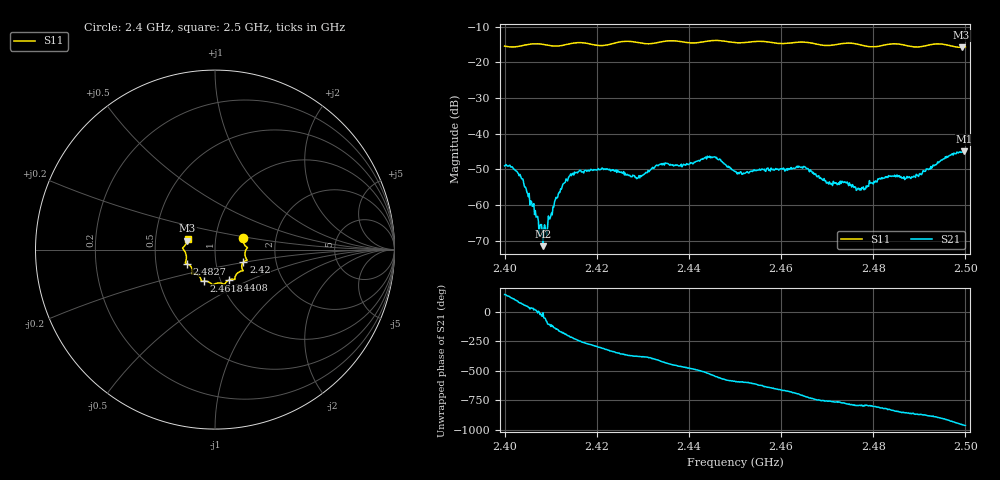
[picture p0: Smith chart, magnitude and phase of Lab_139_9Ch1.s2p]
# Hz S RI R 50
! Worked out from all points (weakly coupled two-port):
!   601 points, 2.4 GHz to 2.5 GHz, reference 50 ohm
!   highest |S21| = -44.93 dB at 2.4997 GHz (marker M1); lowest = -71.5 dB at 2.4083 GHz (marker M2)
!   lowest |S11| = -15.8 dB at 2.4992 GHz (marker M3), VSWR 1.39, Z = 36.5 + j3.7 ohm
!   |S11| at or under -10 dB: start of sweep to end of sweep
!   S12 and S22 are empty: the file has one direction only
!   S11 on the Smith chart (normalised r, x): 2.4 GHz: 1.36, +0.17; 2.42 GHz: 1.36, -0.19; 2.4408 GHz: 1.10, -0.38; 2.4618 GHz: 0.84, -0.30; 2.4827 GHz: 0.72, -0.12; 2.5 GHz: 0.73, +0.09
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2.4e9  0.1561 0.0621  -0.00303 0.00183  0 0  0 0
2.4035e9  0.1675 0.0227  0.000567 0.00245  0 0  0 0
2.407833e9  0.1794 0.00859  0.000516 -0.000139  0 0  0 0
2.408333e9  0.1778 0.00659  0.000265 -2.84e-05  0 0  0 0
2.408833e9  0.1755 0.00374  0.000281 -0.000391  0 0  0 0
2.413e9  0.1697 -0.0409  -0.00206 8.52e-05  0 0  0 0
2.416667e9  0.1782 -0.0592  -0.000883 0.00277  0 0  0 0
2.42e9  0.1579 -0.0694  0.00121 0.00285  0 0  0 0
2.428833e9  0.1462 -0.1194  0.00229 -0.000674  0 0  0 0
2.433333e9  0.1122 -0.1521  0.00239 -0.00263  0 0  0 0
2.440833e9  0.0787 -0.1686  -0.00207 -0.00317  0 0  0 0
2.4455e9  0.0524 -0.1945  -0.00474 0.000132  0 0  0 0
2.45e9  0.0277 -0.186  -0.00198 0.00219  0 0  0 0
2.461833e9  -0.0601 -0.1752  0.00234 0.00224  0 0  0 0
2.466667e9  -0.0771 -0.1684  0.00287 -0.000716  0 0  0 0
2.476833e9  -0.1252 -0.1258  0.000475 -0.00165  0 0  0 0
2.482667e9  -0.1571 -0.078  -0.000394 -0.00247  0 0  0 0
2.483333e9  -0.1613 -0.0763  -0.000748 -0.00248  0 0  0 0
2.488667e9  -0.1594 -0.041  -0.00188 -0.00161  0 0  0 0
2.499167e9  -0.1539 0.0494  -0.00322 0.00445  0 0  0 0
2.499667e9  -0.1525 0.0567  -0.00275 0.00496  0 0  0 0
2.5e9  -0.1516 0.0615  -0.00246 0.00501  0 0  0 0
